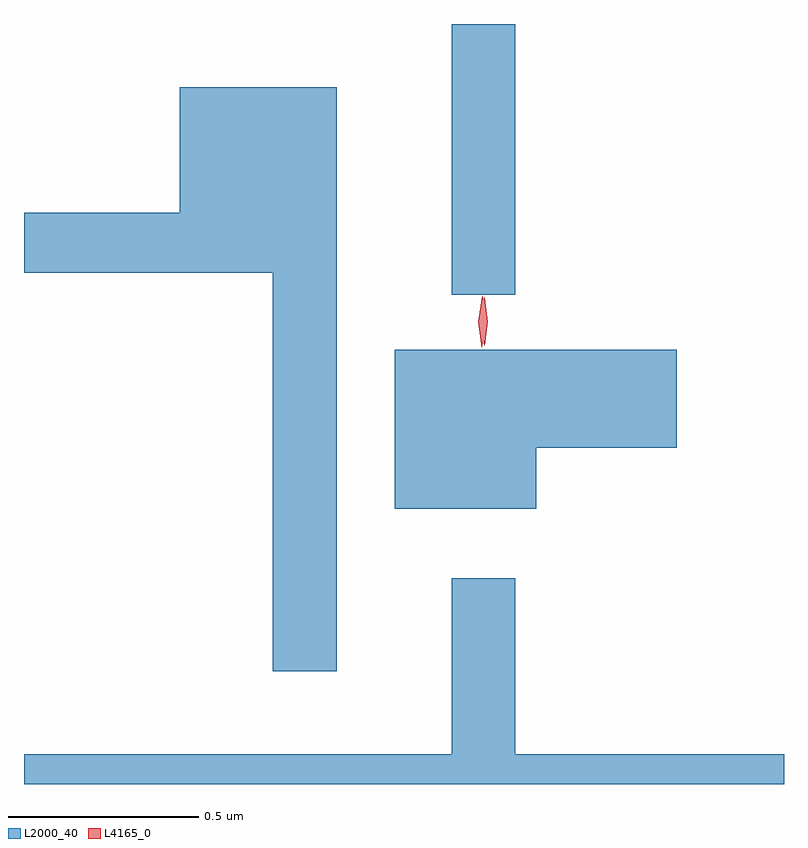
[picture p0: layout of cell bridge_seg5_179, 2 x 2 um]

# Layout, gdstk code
import gdstk
lib = gdstk.Library(unit=1e-6, precision=1e-09)
def R(c, l, rs):  # rectangles x0, y0, x1, y1
    for r in rs: c.add(gdstk.rectangle(r[:2], r[2:], *l))
def P(c, l, *ps):  # polygons
    for p in ps: c.add(gdstk.Polygon(p, *l))
L2000_40 = (2000, 40)
L4165_0 = (4165, 0)

bridge_seg5_179 = lib.new_cell('bridge_seg5_179')
R(bridge_seg5_179, L2000_40, [(1199.101,1451.613,1199.269,1452.326)])
P(bridge_seg5_179, L2000_40, [(1198.799,1452.159),(1198.386,1452.159),(1198.386,1451.829),(1197.976,1451.829),(1197.976,1451.671),(1198.631,1451.671),(1198.631,1450.623),(1198.799,1450.623)],
  [(1199.324,1451.211),(1199.694,1451.211),(1199.694,1451.469),(1198.951,1451.469),(1198.951,1451.051),(1199.324,1451.051)],
  [(1199.976,1450.404),(1199.269,1450.404),(1199.269,1450.868),(1199.101,1450.868),(1199.101,1450.404),(1197.976,1450.404),(1197.976,1450.326),(1199.976,1450.326)])
P(bridge_seg5_179, L4165_0, [(1199.18,1451.474),(1199.171,1451.542),(1199.182,1451.61),(1199.182,1451.61),(1199.183,1451.61),(1199.192,1451.542),(1199.181,1451.474),(1199.181,1451.474)],
  [(1199.187,1451.48),(1199.187,1451.48),(1199.177,1451.543),(1199.187,1451.606),(1199.187,1451.607),(1199.188,1451.606),(1199.197,1451.543),(1199.188,1451.48)])

lib.write_gds('bridge_seg5_179.gds')
